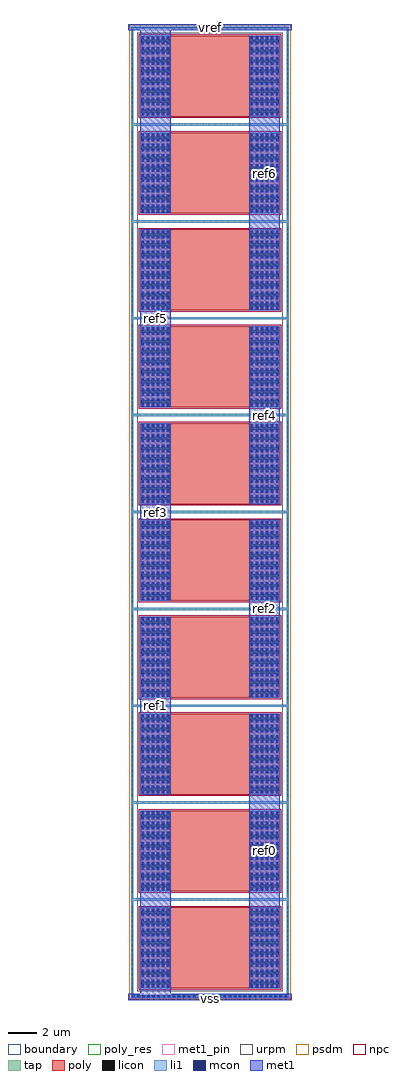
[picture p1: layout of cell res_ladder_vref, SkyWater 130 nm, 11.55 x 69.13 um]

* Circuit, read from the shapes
.subckt res_ladder_vref ref0 ref1 ref2 ref3 ref4 ref5 ref6 vref vss
XR1 ref0 vss vss sky130_fd_pr__res_xhigh_po w=5.73 l=5.61 m=2
XR2 ref0 ref1 vss sky130_fd_pr__res_xhigh_po w=5.73 l=5.61
XR3 ref2 ref1 vss sky130_fd_pr__res_xhigh_po w=5.73 l=5.61
XR4 ref2 ref3 vss sky130_fd_pr__res_xhigh_po w=5.73 l=5.61
XR5 ref4 ref3 vss sky130_fd_pr__res_xhigh_po w=5.73 l=5.61
XR6 ref4 ref5 vss sky130_fd_pr__res_xhigh_po w=5.73 l=5.61
XR7 ref6 ref5 vss sky130_fd_pr__res_xhigh_po w=5.73 l=5.61
XR8 ref6 vref vss sky130_fd_pr__res_xhigh_po w=5.73 l=5.61 m=2
.ends

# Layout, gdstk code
from math import pi, radians
import gdstk
lib = gdstk.Library(unit=1e-6, precision=1e-09)
def R(c, l, rs):  # rectangles x0, y0, x1, y1
    for r in rs: c.add(gdstk.rectangle(r[:2], r[2:], *l))
def A(c, l, x, y, w, h, nx, ny, dx, dy):  # array of equal rectangles
    R(c, l, [(x+i*dx, y+j*dy, x+i*dx+w, y+j*dy+h) for i in range(nx) for j in range(ny)])
tap = (65, 44)
poly_res = (66, 13)
poly = (66, 20)
licon = (66, 44)
li1 = (67, 20)
mcon = (67, 44)
met1_pin = (68, 16)
met1 = (68, 20)
urpm = (79, 20)
psdm = (94, 20)
npc = (95, 20)
boundary = (235, 4)

sky130_fd_pr__res_xhigh_ = lib.new_cell('sky130_fd_pr__res_xhigh_po_5p73_JT48NU')
R(sky130_fd_pr__res_xhigh_, tap, [(-3.515,-5.595,3.515,-5.425), (-3.515,-5.425,-3.345,5.425), (3.345,-5.425,3.515,5.425), (-3.515,5.425,3.515,5.595)])
R(sky130_fd_pr__res_xhigh_, poly_res, [(-2.865,-2.865,2.865,2.865)])
R(sky130_fd_pr__res_xhigh_, poly, [(-2.865,-4.945,2.865,4.945)])
A(sky130_fd_pr__res_xhigh_, licon, -2.975, -5.595, 0.17, 0.17, 18, 2, 0.34, 11.02)
A(sky130_fd_pr__res_xhigh_, licon, -2.58, -4.865, 0.19, 2, 8, 2, 0.71, 7.73)
R(sky130_fd_pr__res_xhigh_, li1, [(-3.515,-5.595,3.515,-5.425), (-3.515,-5.425,-3.345,5.425), (3.345,-5.425,3.515,5.425), (-2.865,-4.945,2.865,-2.785), (-2.865,2.785,2.865,4.945), (-3.515,5.425,3.515,5.595)])
A(sky130_fd_pr__res_xhigh_, mcon, -2.785, -4.85, 0.17, 0.17, 16, 6, 0.36, 0.36)
A(sky130_fd_pr__res_xhigh_, mcon, -2.785, 2.875, 0.17, 0.17, 16, 6, 0.36, 0.36)
R(sky130_fd_pr__res_xhigh_, met1, [(-2.845,-4.885,2.845,-2.84), (-2.845,2.84,2.845,4.885)])
R(sky130_fd_pr__res_xhigh_, urpm, [(-3.065,-5.145,3.065,5.145)])
R(sky130_fd_pr__res_xhigh_, psdm, [(-3.64,-5.72,3.64,5.72)])
R(sky130_fd_pr__res_xhigh_, npc, [(-2.96,-5.04,2.96,5.04)])
R(sky130_fd_pr__res_xhigh_, boundary, [(-3.43,-5.51,3.43,5.51)])
sky130_fd_pr__res_xhigh_.add(gdstk.Label('B', (0,-5.51), layer=67, texttype=5))
sky130_fd_pr__res_xhigh_.add(gdstk.Label('R1', (0,4.77), layer=67, texttype=5))
sky130_fd_pr__res_xhigh_.add(gdstk.Label('R2', (0,-4.77), layer=67, texttype=5))

res_ladder_vref = lib.new_cell('res_ladder_vref')
R(res_ladder_vref, li1, [(5.68,-19.37,16.78,-19.16)])
A(res_ladder_vref, mcon, 5.745, -19.35, 0.17, 0.17, 31, 1, 0.36, 0)
A(res_ladder_vref, met1_pin, 6.32, -4.98, 2.16, 12.59, 1, 3, 0, 13.72)
R(res_ladder_vref, met1_pin, [(5.49,-19.53,17.04,-19.37), (14.05,-18.7,16.21,0.75), (14.05,1.88,16.21,14.47), (14.05,15.6,16.21,28.19), (14.05,29.32,16.21,48.77), (5.49,49.15,17.04,49.6)])
A(res_ladder_vref, met1, 6.32, -4.98, 2.16, 12.59, 1, 3, 0, 13.72)
R(res_ladder_vref, met1, [(5.49,-19.53,17.04,-19.08), (6.32,-19.08,8.48,-6.11), (14.05,-18.7,16.21,0.75), (14.05,1.88,16.21,14.47), (14.05,15.6,16.21,28.19), (14.05,29.32,16.21,48.77), (6.32,36.18,8.48,49.15), (5.49,49.15,17.04,49.6)])
A(res_ladder_vref, urpm, 6.12, -12.77, 10.29, 0.73, 1, 9, 0, 6.86)
res_ladder_vref.add(gdstk.Reference(sky130_fd_pr__res_xhigh_, (11.265,-8.975), rotation=3*pi/2))
res_ladder_vref.add(gdstk.Reference(sky130_fd_pr__res_xhigh_, (11.265,-15.835), rotation=3*pi/2))
res_ladder_vref.add(gdstk.Reference(sky130_fd_pr__res_xhigh_, (11.265,-2.115), rotation=3*pi/2))
res_ladder_vref.add(gdstk.Reference(sky130_fd_pr__res_xhigh_, (11.265,4.745), rotation=3*pi/2))
res_ladder_vref.add(gdstk.Reference(sky130_fd_pr__res_xhigh_, (11.265,11.605), rotation=3*pi/2))
res_ladder_vref.add(gdstk.Reference(sky130_fd_pr__res_xhigh_, (11.265,18.465), rotation=3*pi/2))
res_ladder_vref.add(gdstk.Reference(sky130_fd_pr__res_xhigh_, (11.265,25.325), rotation=3*pi/2))
res_ladder_vref.add(gdstk.Reference(sky130_fd_pr__res_xhigh_, (11.265,32.185), rotation=3*pi/2))
res_ladder_vref.add(gdstk.Reference(sky130_fd_pr__res_xhigh_, (11.265,39.045), rotation=3*pi/2))
res_ladder_vref.add(gdstk.Reference(sky130_fd_pr__res_xhigh_, (11.265,45.905), rotation=3*pi/2))
res_ladder_vref.add(gdstk.Label('ref0', (15.13,-8.975), layer=68, texttype=5))
res_ladder_vref.add(gdstk.Label('ref1', (7.4,1.315), layer=68, texttype=5))
res_ladder_vref.add(gdstk.Label('ref2', (15.13,8.175), layer=68, texttype=5))
res_ladder_vref.add(gdstk.Label('ref3', (7.4,15.035), layer=68, texttype=5))
res_ladder_vref.add(gdstk.Label('ref4', (15.13,21.895), layer=68, texttype=5))
res_ladder_vref.add(gdstk.Label('ref5', (7.4,28.755), layer=68, texttype=5))
res_ladder_vref.add(gdstk.Label('ref6', (15.13,39.045), layer=68, texttype=5))
res_ladder_vref.add(gdstk.Label('vref', (11.265,49.375), layer=68, texttype=5))
res_ladder_vref.add(gdstk.Label('vss', (11.265,-19.45), layer=68, texttype=5))

lib.write_gds('res_ladder_vref.gds')
